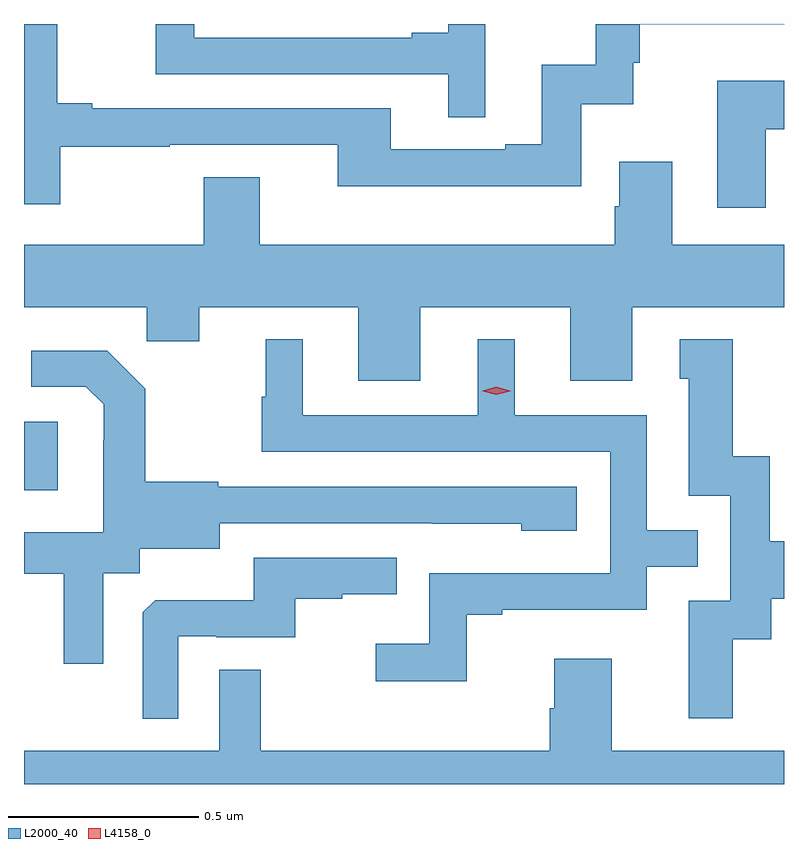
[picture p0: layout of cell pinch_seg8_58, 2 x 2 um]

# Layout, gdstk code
import gdstk
lib = gdstk.Library(unit=1e-6, precision=1e-09)
def R(c, l, rs):  # rectangles x0, y0, x1, y1
    for r in rs: c.add(gdstk.rectangle(r[:2], r[2:], *l))
def P(c, l, *ps):  # polygons
    for p in ps: c.add(gdstk.Polygon(p, *l))
L2000_40 = (2000, 40)
L4158_0 = (4158, 0)

pinch_seg8_58 = lib.new_cell('pinch_seg8_58')
R(pinch_seg8_58, L2000_40, [(914.912,1108.026,915.001,1108.206)])
P(pinch_seg8_58, L2000_40, [(915.007,1108.93),(915.296,1108.93),(915.296,1108.935),(915.737,1108.935),(915.737,1108.826),(916.378,1108.826),(916.378,1109.042),(916.515,1109.042),(916.515,1109.151),(916.532,1109.151),(916.532,1109.252),(916.912,1109.252),(916.912,1109.253),(916.416,1109.253),(916.416,1109.146),(916.274,1109.146),(916.274,1108.936),(916.178,1108.936),(916.178,1108.923),(915.877,1108.923),(915.877,1109.031),(915.091,1109.031),(915.091,1109.044),(914.999,1109.044),(914.999,1109.253),(914.912,1109.253),(914.912,1108.779),(915.007,1108.779)],
  [(916.126,1109.253),(916.028,1109.253),(916.028,1109.23),(915.932,1109.23),(915.932,1109.217),(915.36,1109.217),(915.36,1109.253),(915.259,1109.253),(915.259,1109.121),(916.028,1109.121),(916.028,1109.008),(916.126,1109.008)],
  [(916.864,1108.976),(916.912,1108.976),(916.912,1109.104),(916.736,1109.104),(916.736,1108.77),(916.864,1108.77)],
  [(915.955,1108.508),(916.349,1108.508),(916.349,1108.314),(916.513,1108.314),(916.513,1108.508),(916.912,1108.508),(916.912,1108.672),(916.618,1108.672),(916.618,1108.891),(916.478,1108.891),(916.478,1108.773),(916.466,1108.773),(916.466,1108.672),(915.532,1108.672),(915.532,1108.85),(915.385,1108.85),(915.385,1108.672),(914.912,1108.672),(914.912,1108.508),(915.235,1108.508),(915.235,1108.418),(915.373,1108.418),(915.373,1108.508),(915.791,1108.508),(915.791,1108.314),(915.955,1108.314)],
  [(916.077,1107.699),(916.171,1107.699),(916.171,1107.711),(916.551,1107.711),(916.551,1107.825),(916.685,1107.825),(916.685,1107.921),(916.551,1107.921),(916.551,1108.224),(916.204,1108.224),(916.204,1108.423),(916.106,1108.423),(916.106,1108.224),(915.646,1108.224),(915.646,1108.423),(915.548,1108.423),(915.548,1108.272),(915.537,1108.272),(915.537,1108.128),(916.455,1108.128),(916.455,1107.807),(915.978,1107.807),(915.978,1107.622),(915.837,1107.622),(915.837,1107.524),(916.077,1107.524)],
  [(916.777,1107.634),(916.879,1107.634),(916.879,1107.74),(916.912,1107.74),(916.912,1107.892),(916.875,1107.892),(916.875,1108.115),(916.777,1108.115),(916.777,1108.423),(916.637,1108.423),(916.637,1108.32),(916.661,1108.32),(916.661,1108.011),(916.77,1108.011),(916.77,1107.735),(916.661,1107.735),(916.661,1107.426),(916.777,1107.426)],
  [(915.121,1107.808),(915.216,1107.808),(915.216,1107.872),(915.427,1107.872),(915.427,1107.939),(915.985,1107.939),(915.985,1107.938),(916.221,1107.938),(916.221,1107.92),(916.366,1107.92),(916.366,1108.035),(915.423,1108.035),(915.423,1108.048),(915.231,1108.048),(915.231,1108.293),(915.131,1108.393),(914.931,1108.393),(914.931,1108.299),(915.075,1108.299),(915.122,1108.252),(915.122,1108.157),(915.12,1108.157),(915.12,1107.916),(914.912,1107.916),(914.912,1107.806),(915.017,1107.806),(915.017,1107.57),(915.121,1107.57)],
  [(915.318,1107.642),(915.418,1107.642),(915.418,1107.639),(915.626,1107.639),(915.626,1107.741),(915.749,1107.741),(915.749,1107.752),(915.893,1107.752),(915.893,1107.849),(915.516,1107.849),(915.516,1107.737),(915.257,1107.737),(915.225,1107.705),(915.225,1107.425),(915.318,1107.425)],
  [(916.912,1107.34),(916.459,1107.34),(916.459,1107.583),(916.307,1107.583),(916.307,1107.453),(916.295,1107.453),(916.295,1107.34),(915.535,1107.34),(915.535,1107.554),(915.426,1107.554),(915.426,1107.34),(914.912,1107.34),(914.912,1107.253),(916.912,1107.253)])
P(pinch_seg8_58, L4158_0, [(916.155,1108.278),(916.119,1108.287),(916.119,1108.288),(916.119,1108.288),(916.155,1108.298),(916.191,1108.288),(916.191,1108.288),(916.191,1108.287)])

lib.write_gds('pinch_seg8_58.gds')
